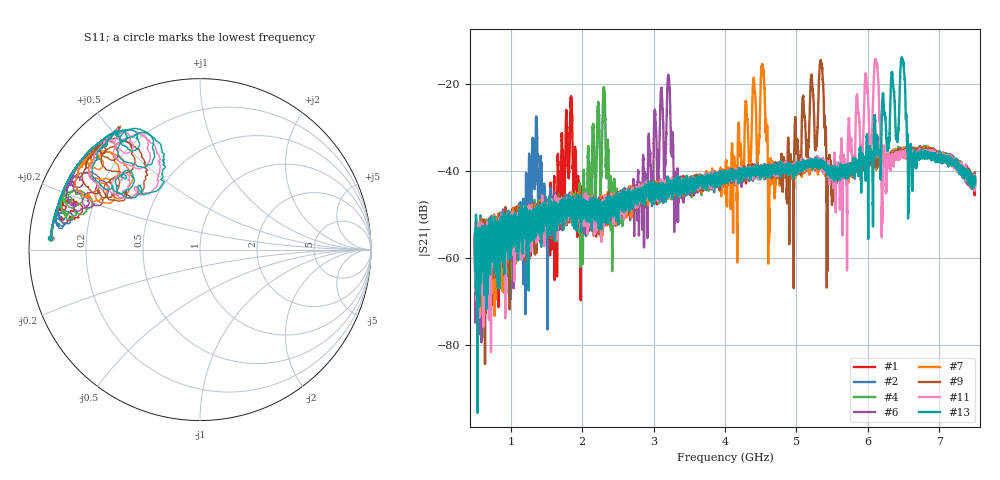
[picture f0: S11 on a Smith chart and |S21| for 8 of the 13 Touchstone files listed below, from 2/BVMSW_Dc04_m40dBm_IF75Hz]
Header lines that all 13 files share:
!Keysight Technologies,M9374A,MY55442783,A.12.55.05
!Correction: S11(Full 2 Port(1,2))
!S21(Full 2 Port(1,2))
!S12(Full 2 Port(1,2))
!S22(Full 2 Port(1,2))
!S2P File: Measurements: S11, S21, S12, S22:
# Hz S  RI  R 50
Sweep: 500 MHz to 7.5 GHz
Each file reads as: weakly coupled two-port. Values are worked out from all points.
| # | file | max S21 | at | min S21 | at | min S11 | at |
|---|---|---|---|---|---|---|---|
| 1 | BVMSW_Dc04_i0.5.s2p | -22.77 dB | 1.845 GHz | -72.7 dB | 573 MHz | -2.8 dB | 1.846 GHz |
| 2 | BVMSW_Dc04_i0.s2p | -27.41 dB | 1.357 GHz | -76.3 dB | 1.513 GHz | -2.3 dB | 1.358 GHz |
| 3 | BVMSW_Dc04_i1.5.s2p | -19.24 dB | 2.756 GHz | -72.4 dB | 619 MHz | -3.6 dB | 2.757 GHz |
| 4 | BVMSW_Dc04_i1.s2p | -20.75 dB | 2.303 GHz | -78.1 dB | 613 MHz | -3.3 dB | 2.304 GHz |
| 5 | BVMSW_Dc04_i2.5.s2p | -17.01 dB | 3.656 GHz | -76.3 dB | 561 MHz | -4.4 dB | 3.66 GHz |
| 6 | BVMSW_Dc04_i2.s2p | -17.86 dB | 3.207 GHz | -79.3 dB | 588 MHz | -4.1 dB | 3.21 GHz |
| 7 | BVMSW_Dc04_i3.5.s2p | -15.39 dB | 4.52 GHz | -73.2 dB | 775 MHz | -5.4 dB | 4.531 GHz |
| 8 | BVMSW_Dc04_i3.s2p | -16.05 dB | 4.096 GHz | -91.1 dB | 675 MHz | -4.9 dB | 4.103 GHz |
| 9 | BVMSW_Dc04_i4.5.s2p | -14.45 dB | 5.34 GHz | -84.3 dB | 640 MHz | -6.4 dB | 5.349 GHz |
| 10 | BVMSW_Dc04_i4.s2p | -14.89 dB | 4.938 GHz | -82.5 dB | 566 MHz | -6.0 dB | 4.947 GHz |
| 11 | BVMSW_Dc04_i5.5.s2p | -14.23 dB | 6.107 GHz | -81.6 dB | 724 MHz | -7.3 dB | 6.119 GHz |
| 12 | BVMSW_Dc04_i5.s2p | -14.49 dB | 5.73 GHz | -74.2 dB | 540 MHz | -6.9 dB | 5.739 GHz |
| 13 | BVMSW_Dc04_i6.s2p | -13.85 dB | 6.476 GHz | -95.5 dB | 534 MHz | -7.4 dB | 6.488 GHz |
